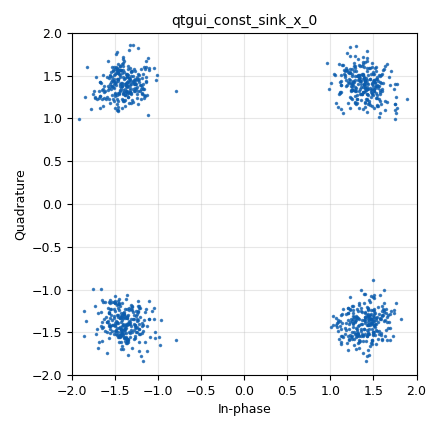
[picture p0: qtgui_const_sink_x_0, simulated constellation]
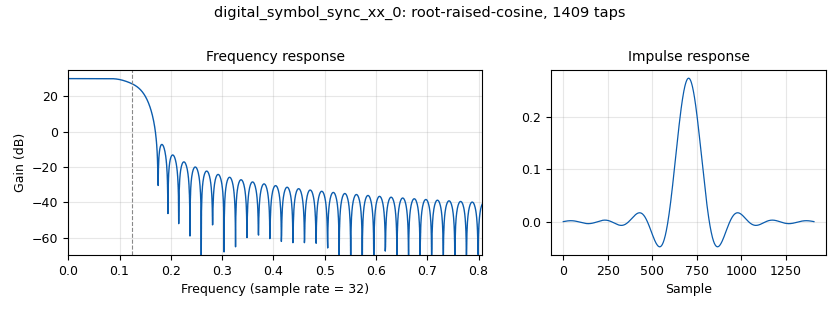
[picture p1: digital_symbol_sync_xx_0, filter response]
options:
  parameters:
    author: Barry Duggan
    category: Custom
    generate_options: qt_gui
    id: qpsk_stage6_ss
    output_language: python
    title: qpsk_stage6_ss
  states: {}

blocks:
- name: access_key
  id: variable
  parameters:
    value: '''11100001010110101110100010010011'''
  states: {}
- name: delay
  id: variable_qtgui_range
  parameters:
    comment: 0,3,1,1
    gui_hint: 0,3,1,1
    label: Delay
    start: '0'
    step: '1'
    stop: '200'
    value: '50'
  states: {}
- name: excess_bw
  id: variable
  parameters:
    value: '0.35'
  states: {}
- name: freq_offset
  id: variable_qtgui_range
  parameters:
    comment: 0,2,1,1
    gui_hint: 0,2,1,1
    label: 'Channel: Frequency Offset'
    start: '-0.1'
    step: '0.001'
    stop: '0.1'
    value: '0.025'
  states: {}
- name: hdr_format
  id: variable
  parameters:
    comment: header_format_default
    value: digital.header_format_default(access_key, 0)
  states: {}
- name: nfilts
  id: variable
  parameters:
    value: '32'
  states: {}
- name: noise_volt
  id: variable_qtgui_range
  parameters:
    comment: 0,0,1,1
    gui_hint: 0,0,1,1
    label: 'Channel: Noise Voltage'
    start: '0'
    step: '0.01'
    stop: '1'
    value: '0.2'
  states: {}
- name: phase_bw
  id: variable
  parameters:
    value: '0.0628'
  states: {}
- name: qpsk
  id: variable_constellation_rect
  parameters:
    const_points: '[0.707+0.707j, -0.707+0.707j, -0.707-0.707j, 0.707-0.707j]'
    imag_sect: '2'
    real_sect: '2'
    rot_sym: '4'
    sym_map: '[0, 1, 2, 3]'
    w_imag_sect: '1'
    w_real_sect: '1'
  states: {}
- name: qpsk_0
  id: variable_constellation
  parameters:
    precision: '8'
    type: qpsk
  states: {}
- name: rrc_taps
  id: variable
  parameters:
    value: firdes.root_raised_cosine(nfilts, nfilts, 1.0/float(sps), 0.35, 11*sps*nfilts)
  states: {}
- name: samp_rate
  id: variable
  parameters:
    value: '32000'
  states: {}
- name: sps
  id: variable
  parameters:
    value: '4'
  states: {}
- name: thresh
  id: variable
  parameters:
    value: '1'
  states: {}
- name: time_offset
  id: variable_qtgui_range
  parameters:
    comment: 0,1,1,1
    gui_hint: 0,1,1,1
    label: 'Channel: Timing Offset'
    start: '0.999'
    step: '0.0001'
    stop: '1.001'
    value: '1.0005'
  states: {}
- name: variable_adaptive_algorithm_0
  id: variable_adaptive_algorithm
  parameters:
    cons: qpsk
    modulus: '4'
    step_size: '.0001'
    type: cma
  states: {}
- name: analog_random_source_x_0
  id: analog_random_source_x
  parameters:
    max: '255'
    min: '0'
    num_samps: '1000'
    repeat: 'True'
    type: byte
  states: {}
- name: blocks_file_sink_0_0
  id: blocks_file_sink
  parameters:
    append: 'True'
    file: /home/art3m1sf0wl/program/TRX_test/test_12_random_output.txt
    type: byte
    unbuffered: 'True'
  states: {}
- name: blocks_file_sink_0_0_0
  id: blocks_file_sink
  parameters:
    append: 'True'
    file: /home/art3m1sf0wl/program/TRX_test/test_13.txt
    type: byte
    unbuffered: 'True'
  states: {state: disabled}
- name: blocks_file_sink_0_0_0_0
  id: blocks_file_sink
  parameters:
    append: 'True'
    file: /home/art3m1sf0wl/program/TRX_test/test_13_orig.txt
    type: byte
    unbuffered: 'True'
  states: {state: disabled}
- name: blocks_message_strobe_0
  id: blocks_message_strobe
  parameters:
    msg: ' pmt.cons(pmt.PMT_NIL,pmt.init_u8vector(9,(71,78,85,32,82,97,100,105,111)))'
    period: '500'
  states: {state: disabled}
- name: blocks_pack_k_bits_bb_0
  id: blocks_pack_k_bits_bb
  parameters:
    k: '8'
  states: {}
- name: blocks_repack_bits_bb_0
  id: blocks_repack_bits_bb
  parameters:
    endianness: gr.GR_MSB_FIRST
    k: '1'
    l: '8'
  states: {state: disabled}
- name: blocks_repack_bits_bb_0_0
  id: blocks_repack_bits_bb
  parameters:
    endianness: gr.GR_MSB_FIRST
    k: '1'
    l: '8'
  states: {state: disabled}
- name: blocks_repack_bits_bb_1_1
  id: blocks_repack_bits_bb
  parameters:
    endianness: gr.GR_MSB_FIRST
    k: '4'
    l: '8'
    len_tag_key: '"packet_len"'
  states: {state: disabled}
- name: blocks_throttle_0
  id: blocks_throttle
  parameters:
    samples_per_second: samp_rate
    type: complex
  states: {}
- name: blocks_throttle_0_1
  id: blocks_throttle
  parameters:
    samples_per_second: samp_rate
    type: byte
  states: {state: disabled}
- name: blocks_unpack_k_bits_bb_1
  id: blocks_unpack_k_bits_bb
  parameters:
    k: '2'
  states: {}
- name: blocks_unpack_k_bits_bb_1_0
  id: blocks_unpack_k_bits_bb
  parameters:
    k: '8'
  states: {state: disabled}
- name: blocks_unpack_k_bits_bb_1_0_0
  id: blocks_unpack_k_bits_bb
  parameters:
    k: '8'
  states: {state: disabled}
- name: channels_channel_model_0
  id: channels_channel_model
  parameters:
    comment: Epsilon is the time offset
    epsilon: time_offset
    freq_offset: freq_offset
    noise_voltage: noise_volt
    seed: '0'
    taps: '1'
  states: {}
- name: digital_constellation_decoder_cb_0
  id: digital_constellation_decoder_cb
  parameters:
    constellation: qpsk
  states: {}
- name: digital_constellation_modulator_0
  id: digital_constellation_modulator
  parameters:
    constellation: qpsk
    differential: 'True'
    excess_bw: excess_bw
    samples_per_symbol: sps
  states: {}
- name: digital_correlate_access_code_xx_ts_0
  id: digital_correlate_access_code_xx_ts
  parameters:
    access_code: '"11100001010110101110100010010011"'
    tagname: packet_len
    threshold: thresh
    type: byte
  states: {state: disabled}
- name: digital_costas_loop_cc_0
  id: digital_costas_loop_cc
  parameters:
    order: '4'
    w: phase_bw
  states: {}
- name: digital_crc32_async_bb_1
  id: digital_crc32_async_bb
  parameters:
    check: 'False'
  states: {state: disabled}
- name: digital_diff_decoder_bb_0
  id: digital_diff_decoder_bb
  parameters:
    coding: digital.DIFF_DIFFERENTIAL
    modulus: '4'
  states: {}
- name: digital_linear_equalizer_0
  id: digital_linear_equalizer
  parameters:
    alg: variable_adaptive_algorithm_0
    num_taps: '15'
    sps: '2'
  states: {}
- name: digital_map_bb_0
  id: digital_map_bb
  parameters:
    map: '[0,1,2,3]'
  states: {}
- name: digital_map_bb_0_0
  id: digital_map_bb
  parameters:
    map: '[0,1,2,3]'
  states: {state: disabled}
- name: digital_symbol_sync_xx_0
  id: digital_symbol_sync_xx
  parameters:
    damping: '1.0'
    loop_bw: phase_bw
    max_dev: '1.5'
    nfilters: '32'
    osps: '2'
    pfb_mf_taps: rrc_taps
    resamp_type: digital.IR_PFB_MF
    sps: sps
    ted_gain: '1.0'
    ted_type: digital.TED_SIGNAL_TIMES_SLOPE_ML
    type: cc
  states: {}
- name: epy_block_0
  id: epy_block
  parameters:
    _source_code: |
      """
      Embedded Python Block
      """

      import numpy as np
      from gnuradio import gr
      import pmt

      class blk(gr.sync_block):
          """Packet Format"""

          def __init__(self):
              gr.sync_block.__init__(self,
                  name = "Packet Format",
                  in_sig = None,
                  out_sig = None)
              self.message_port_register_in(pmt.intern('PDU_in'))
              self.message_port_register_out(pmt.intern('PDU_out'))
              self.set_msg_handler(pmt.intern('PDU_in'), self.handle_msg)

          def handle_msg(self, msg):
              inMsg = pmt.to_python (msg)
              pld = inMsg[1]
              # print (pld)
              mLen = len(pld)
              # print (mLen)
              if (mLen > 0):
                  char_list = [85,85,85,85,85,85,85,85,85,85,85,85,85,85,85,85,85,85,85,85,85,85,85,85,85,85,85,85,85,85,85,85,225,90,232,147]
                  char_list.append (mLen >> 8)
                  char_list.append (mLen & 255)
                  char_list.append (mLen >> 8)
                  char_list.append (mLen & 255)
                  char_list.extend (pld)
                  # print (char_list)
                  out_len = len(char_list)
                  # print (out_len)
                  self.message_port_pub(pmt.intern('PDU_out'), pmt.cons(pmt.PMT_NIL,pmt.init_u8vector(out_len,(char_list))))
  states: {state: disabled}
- name: pdu_pdu_to_tagged_stream_0
  id: pdu_pdu_to_tagged_stream
  parameters:
    tag: packet_len
    type: byte
  states: {state: disabled}
- name: qtgui_const_sink_x_0
  id: qtgui_const_sink_x
  parameters:
    comment: 1,0,1,2
    gui_hint: 1,0,1,2
    name: ''
    size: '1024'
    type: complex
  states: {}
- name: virtual_sink_0
  id: virtual_sink
  parameters:
    stream_id: r1
  states: {}
- name: virtual_sink_1
  id: virtual_sink
  parameters:
    stream_id: r2
  states: {}
- name: virtual_sink_2
  id: virtual_sink
  parameters:
    stream_id: caratteri
  states: {}
- name: virtual_source_0
  id: virtual_source
  parameters:
    stream_id: r1
  states: {}
- name: virtual_source_1
  id: virtual_source
  parameters:
    stream_id: r2
  states: {}
- name: virtual_source_2
  id: virtual_source
  parameters:
    stream_id: caratteri
  states: {}

connections:
- [analog_random_source_x_0, '0', blocks_throttle_0_1, '0']
- [analog_random_source_x_0, '0', virtual_sink_2, '0']
- [blocks_message_strobe_0, strobe, digital_crc32_async_bb_1, in]
- [blocks_pack_k_bits_bb_0, '0', blocks_file_sink_0_0, '0']
- [blocks_repack_bits_bb_0, '0', blocks_file_sink_0_0_0, '0']
- [blocks_repack_bits_bb_0_0, '0', blocks_file_sink_0_0, '0']
- [blocks_throttle_0, '0', channels_channel_model_0, '0']
- [blocks_throttle_0_1, '0', blocks_unpack_k_bits_bb_1_0, '0']
- [blocks_throttle_0_1, '0', digital_map_bb_0_0, '0']
- [blocks_throttle_0_1, '0', virtual_sink_2, '0']
- [blocks_unpack_k_bits_bb_1, '0', blocks_pack_k_bits_bb_0, '0']
- [blocks_unpack_k_bits_bb_1_0, '0', blocks_repack_bits_bb_0, '0']
- [blocks_unpack_k_bits_bb_1_0_0, '0', blocks_repack_bits_bb_0_0, '0']
- [channels_channel_model_0, '0', digital_symbol_sync_xx_0, '0']
- [digital_constellation_decoder_cb_0, '0', digital_diff_decoder_bb_0, '0']
- [digital_constellation_modulator_0, '0', blocks_throttle_0, '0']
- [digital_costas_loop_cc_0, '0', digital_constellation_decoder_cb_0, '0']
- [digital_costas_loop_cc_0, '0', qtgui_const_sink_x_0, '0']
- [digital_crc32_async_bb_1, out, epy_block_0, PDU_in]
- [digital_diff_decoder_bb_0, '0', digital_map_bb_0, '0']
- [digital_linear_equalizer_0, '0', virtual_sink_0, '0']
- [digital_map_bb_0, '0', virtual_sink_1, '0']
- [digital_map_bb_0_0, '0', blocks_file_sink_0_0_0_0, '0']
- [digital_symbol_sync_xx_0, '0', digital_linear_equalizer_0, '0']
- [epy_block_0, PDU_out, pdu_pdu_to_tagged_stream_0, pdus]
- [virtual_source_0, '0', digital_costas_loop_cc_0, '0']
- [virtual_source_1, '0', blocks_unpack_k_bits_bb_1, '0']
- [virtual_source_1, '0', blocks_unpack_k_bits_bb_1_0_0, '0']
- [virtual_source_2, '0', digital_constellation_modulator_0, '0']

metadata:
  file_format: 1
  grc_version: 3.10.5.1
